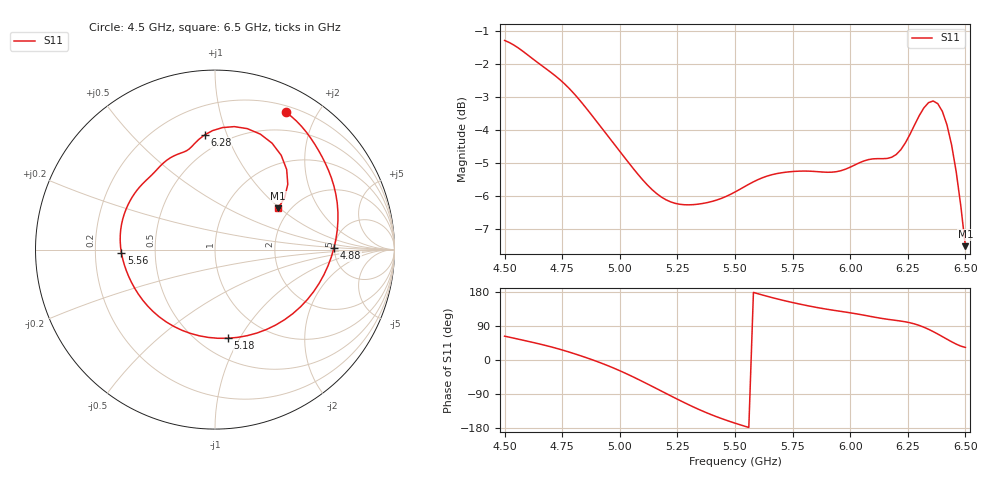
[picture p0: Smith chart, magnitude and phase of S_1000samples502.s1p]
! TOUCHSTONE file generated by CST MICROWAVE STUDIO
! Date and time: Fri Oct 28 09:33:55 2022
! Project name: L.cst
! Parameters = {Di=1.27; Epsilon_r=1.56; InnerDiameter=1.27; Length=2; Lf=10; Lg=60; OuterConductorThickness=0.2921; OuterDiameter=3.6; Wf=3; Wp=41.2; de=1.5; df=6.8; g=0.8; gx=3.33759; gy=1.06053; h=2.34; hf=1.524; px=12.8223; py=11.6772; w=9.7; wx=9.48473; wy=10.6166}
! Header version: 2018
! Port assignment regex: !\s*Touchstone port\s*([0-9]+)\s*=\s*(CST MWS port|CST DS port)\s*([0-9]+|Zmin|Zmax)\s*\(\"(.*)\"\)(\s*mode\s*([0-9]+))?.*
! Touchstone port assignment:
! Touchstone port 1 = CST MWS port 1 ("")
# GHz S DB R 50
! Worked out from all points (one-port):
!   101 points, 4.5 GHz to 6.5 GHz, reference 50 ohm
!   lowest |S11| = -7.5 dB at 6.5 GHz (marker M1), VSWR 2.45, Z = 87 + j48.6 ohm
!   |S11| at or under -10 dB: nowhere
!   S11 on the Smith chart (normalised r, x): 4.5 GHz: 0.27, +1.60; 4.88 GHz: 4.92, +0.14; 5.18 GHz: 0.68, -0.89; 5.56 GHz: 0.31, -0.02; 6.28 GHz: 0.38, +0.84; 6.5 GHz: 1.74, +0.97
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4.5  -1.29 62.9
4.64  -1.95 43.9
4.76  -2.61 24.6
4.82  -3.05 13.2
4.88  -3.57 0.7
4.94  -4.11 -13.0
5  -4.65 -28.3
5.1  -5.52 -57.2
5.18  -6.04 -81.9
5.26  -6.26 -106.5
5.32  -6.27 -124.1
5.38  -6.21 -140.1
5.5  -5.89 -166.7
5.56  -5.65 -178.0
5.66  -5.36 164.8
5.76  -5.26 150.3
5.86  -5.27 138.1
6  -5.13 124.5
6.1  -4.88 113.7
6.18  -4.83 106.0
6.26  -4.13 98.2
6.28  -3.84 95.1
6.34  -3.18 81.1
6.38  -3.21 68.6
6.42  -3.85 54.9
6.44  -4.45 48.2
6.46  -5.27 41.9
6.5  -7.53 33.2
